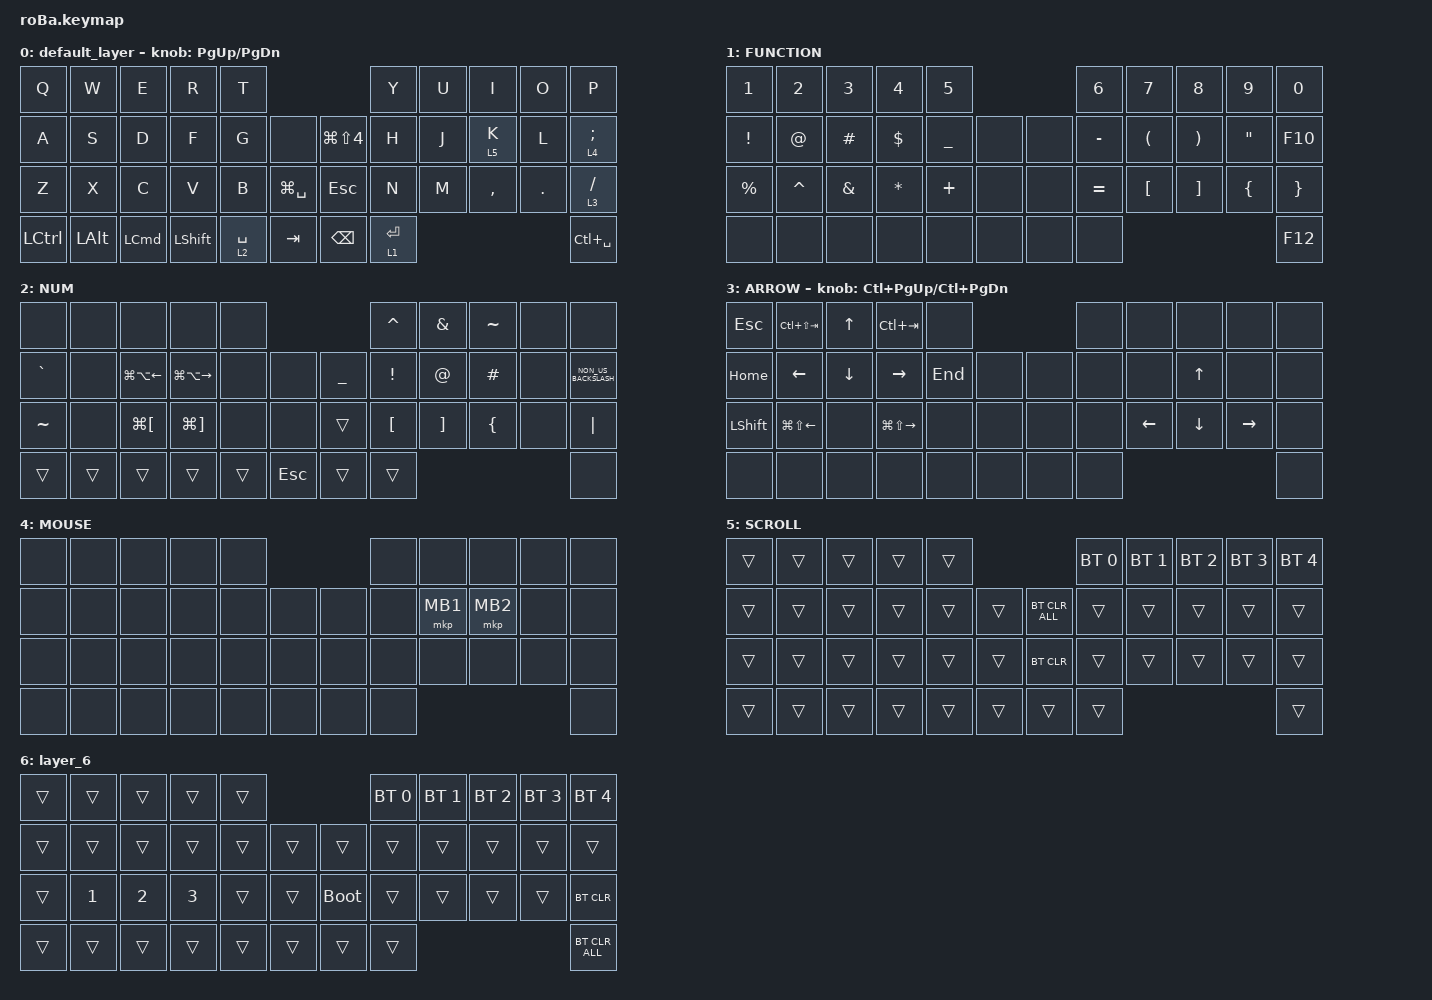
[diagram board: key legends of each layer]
#include <behaviors.dtsi>
#include <dt-bindings/zmk/bt.h>
#include <dt-bindings/zmk/keys.h>
#include <dt-bindings/zmk/pointing.h>

&mt {
    flavor = "balanced";
    quick-tap-ms = <0>;
};

&trackball {
    automouse-layer = <4>;
    scroll-layers = <5>;

    // arrows {
    //     layers = <3>;
    //     bindings =
    //         <&kp RIGHT_ARROW>,
    //         <&kp LEFT_ARROW>,
    //         <&kp UP_ARROW>,
    //         <&kp DOWN_ARROW>;
    //     tick = <10>;
    //     wait-ms = <5>;
    //     tap-ms = <5>;
    // };
};

/ {
    combos {
        compatible = "zmk,combos";

        tab {
            bindings = <&kp TAB>;
            key-positions = <11 12>;
        };

        shift_tab {
            bindings = <&kp LS(TAB)>;
            key-positions = <12 13>;
        };

        muhennkann {
            bindings = <&to_layer_0 INT_MUHENKAN>;
            key-positions = <11 10>;
        };

        double_quotation {
            bindings = <&kp DOUBLE_QUOTES>;
            key-positions = <20 21>;
        };

        eq {
            bindings = <&kp EQUAL>;
            key-positions = <24 25>;
        };
    };

    macros {
        to_layer_0: to_layer_0 {
            compatible = "zmk,behavior-macro-one-param";
            #binding-cells = <1>;
            bindings = <&to 0 &macro_param_1to1 &kp MACRO_PLACEHOLDER>;
            label = "TO_LAYER_0";
        };
    };

    behaviors {
        lt_to_layer_0: lt_to_layer_0 {
            compatible = "zmk,behavior-hold-tap";
            label = "LAYER_TAP_TO_0";
            bindings = <&mo>, <&to_layer_0>;

            #binding-cells = <2>;
            tapping-term-ms = <200>;
        };
    };

    keymap {
        compatible = "zmk,keymap";

        default_layer {
            bindings = <
&kp Q      &kp W         &kp E             &kp R           &kp T                                                 &kp Y        &kp U  &kp I      &kp O    &kp P
&kp A      &kp S         &kp D             &kp F           &kp G        &none              &kp LG(LS(NUMBER_4))  &kp H        &kp J  &lt 5 K    &kp L    &lt 4 SEMICOLON
&kp Z      &kp X         &kp C             &kp V           &kp B        &kp LG(SPACE)      &kp ESC               &kp N        &kp M  &kp COMMA  &kp DOT  &lt 3 SLASH
&kp LCTRL  &kp LEFT_ALT  &kp LEFT_COMMAND  &kp LEFT_SHIFT  &lt 2 SPACE  &kp TAB            &kp BACKSPACE         &lt 1 ENTER                             &kp LC(SPACE)
            >;

            sensor-bindings = <&inc_dec_kp PG_UP PAGE_DOWN>;
        };

        FUNCTION {
            bindings = <
&kp NUMBER_1     &kp NUMBER_2  &kp NUMBER_3   &kp NUMBER_4  &kp N5                            &kp NUMBER_6  &kp N7                &kp N8                 &kp N9             &kp N0
&kp EXCLAMATION  &kp AT_SIGN   &kp HASH       &kp DOLLAR    &kp UNDERSCORE  &none      &none  &kp MINUS     &kp LEFT_PARENTHESIS  &kp RIGHT_PARENTHESIS  &kp DOUBLE_QUOTES  &kp F10
&kp PERCENT      &kp CARET     &kp AMPERSAND  &kp ASTERISK  &kp PLUS        &none      &none  &kp EQUAL     &kp LEFT_BRACKET      &kp RIGHT_BRACKET      &kp LEFT_BRACE     &kp RIGHT_BRACE
&none            &none         &none          &none         &none           &none      &none  &none                                                                         &kp F12
            >;
        };

        NUM {
            bindings = <
&none      &none   &none                 &none                  &none                                &kp CARET         &kp AMPERSAND      &kp TILDE       &none  &none
&kp GRAVE  &none   &kp LG(LA(LEFT))      &kp LG(LA(RIGHT))      &none   &none        &kp UNDERSCORE  &kp EXCLAMATION   &kp AT_SIGN        &kp HASH        &none  &kp NON_US_BACKSLASH
&kp TILDE  &none   &kp LG(LEFT_BRACKET)  &kp LG(RIGHT_BRACKET)  &none   &none        &trans          &kp LEFT_BRACKET  &kp RIGHT_BRACKET  &kp LEFT_BRACE  &none  &kp PIPE
&trans     &trans  &trans                &trans                 &trans  &kp ESC      &trans          &trans                                                      &none
            >;
        };

        ARROW {
            bindings = <
&kp ESCAPE      &kp LC(LS(TAB))         &kp UP_ARROW    &kp LC(TAB)              &none                      &none  &none     &none     &none      &none
&kp HOME        &kp LEFT_ARROW          &kp DOWN_ARROW  &kp RIGHT_ARROW          &kp END  &none      &none  &none  &none     &kp UP    &none      &none
&kp LEFT_SHIFT  &kp LG(LS(LEFT_ARROW))  &none           &kp LG(LS(RIGHT_ARROW))  &none    &none      &none  &none  &kp LEFT  &kp DOWN  &kp RIGHT  &none
&none           &none                   &none           &none                    &none    &none      &none  &none                                 &none
            >;

            sensor-bindings = <&inc_dec_kp LC(PAGE_UP) LC(PAGE_DOWN)>;
        };

        MOUSE {
            bindings = <
&none  &none  &none  &none  &none                    &none  &none     &none     &none  &none
&none  &none  &none  &none  &none  &none      &none  &none  &mkp MB1  &mkp MB2  &none  &none
&none  &none  &none  &none  &none  &none      &none  &none  &none     &none     &none  &none
&none  &none  &none  &none  &none  &none      &none  &none                             &none
            >;
        };

        SCROLL {
            bindings = <
&trans  &trans  &trans  &trans  &trans                              &bt BT_SEL 0  &bt BT_SEL 1  &bt BT_SEL 2  &bt BT_SEL 3  &bt BT_SEL 4
&trans  &trans  &trans  &trans  &trans  &trans      &bt BT_CLR_ALL  &trans        &trans        &trans        &trans        &trans
&trans  &trans  &trans  &trans  &trans  &trans      &bt BT_CLR      &trans        &trans        &trans        &trans        &trans
&trans  &trans  &trans  &trans  &trans  &trans      &trans          &trans                                                  &trans
            >;
        };

        layer_6 {
            bindings = <
&trans  &trans        &trans        &trans        &trans                           &bt BT_SEL 0  &bt BT_SEL 1  &bt BT_SEL 2  &bt BT_SEL 3  &bt BT_SEL 4
&trans  &trans        &trans        &trans        &trans  &trans      &trans       &trans        &trans        &trans        &trans        &trans
&trans  &kp NUMBER_1  &kp NUMBER_2  &kp NUMBER_3  &trans  &trans      &bootloader  &trans        &trans        &trans        &trans        &bt BT_CLR
&trans  &trans        &trans        &trans        &trans  &trans      &trans       &trans                                                  &bt BT_CLR_ALL
            >;
        };
    };
};
